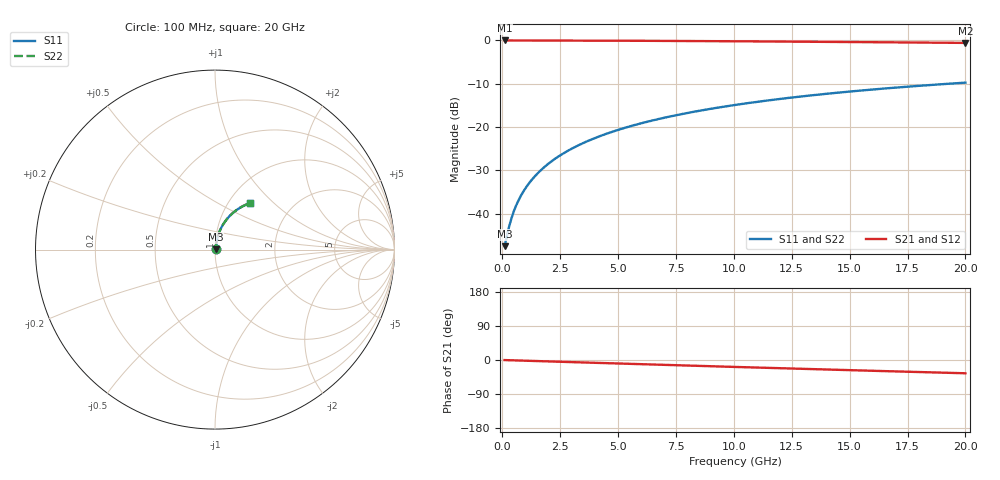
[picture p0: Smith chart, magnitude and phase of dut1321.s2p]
! Touchstone file exported from HFSS 2026.1.0
!  File:  C:/ffzhzh/LocalFiles/Ansys_Project_Files/temp_train_TMRDL_1321_1783165026_51560.aedt
!  Generated:  07:38:21 PM Jul  4, 2026
!  Design:  TMRDL
!  Project:  temp_train_TMRDL_1321_1783165026_51560
! Variables:
!  h_bsmrdl = 2um
!  h_ox = 20um
!  h_rdl = 5um
!  h_sub = 80um
!  h_tmrdl = 3.15um
!  h_tsv = 80um
!  h_via = 3um
!  l_bsmrdl = 300um
!  l_sub = 909.32um
!  l_tmrdl = 509.32um
!  m_sub = 200um
!  pitch = 35.88um
!  r_tsv = 6um
!  s_tmrdl = 10um
!  w_bsmrdl = 18um
!  w_sub = 500um
!  w_tmrdl = 16.1um
!  x_tsv_center1 = 517.37um
!  x_tsv_center2 = 835.37um
!  x_tsv_center3 = 1360.79um
!  x_tsv_center4 = 1678.79um
!  x_tsv_center5 = 2204.21um
!  x_tsv_center6 = 2522.21um
# GHz S MA R 50.000000
! Terminal data exported
! Port[1] = TM_RDL1_1_T1
! Port[2] = TM_RDL1_1_T2
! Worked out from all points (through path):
!   200 points, 100 MHz to 20 GHz, reference 50 ohm
!   highest |S21| = -0.03 dB at 100 MHz (marker M1); lowest = -0.6 dB at 20 GHz (marker M2)
!   group delay of S21, straight-line fit = 4.87 ps
!   lowest |S11| = -47.4 dB at 100 MHz (marker M3), VSWR 1.01, Z = 50.4 + j0.207 ohm
!   |S11| at or under -10 dB: start of sweep to 19.29 GHz
!   |S22| runs from -47.4 to -9.8 dB; largest |S21 - S12| = 4.5e-15
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0.1  0.004247 28.9  0.9963 -0.2  0.9963 -0.2  0.004247 28.9
! Gamma 0 0 0 0
! Port Impedance 50 0 50 0
0.3  0.007234 56.5  0.9961 -0.6  0.9961 -0.6  0.007234 56.5
0.4  0.008974 62.4  0.9959 -0.8  0.9959 -0.8  0.008974 62.4
0.5  0.01074 66.2  0.9958 -1.0  0.9958 -1.0  0.01074 66.2
0.6  0.01253 68.9  0.9957 -1.1  0.9957 -1.1  0.01253 68.9
0.8  0.01611 72.6  0.9955 -1.5  0.9955 -1.5  0.01611 72.6
1  0.01972 74.8  0.9953 -1.9  0.9953 -1.9  0.01972 74.8
1.2  0.02336 76.3  0.9951 -2.3  0.9951 -2.3  0.02336 76.3
1.4  0.02701 77.4  0.995 -2.6  0.995 -2.6  0.02701 77.4
1.7  0.03251 78.4  0.9947 -3.2  0.9947 -3.2  0.03251 78.4
2.2  0.04172 79.1  0.9942 -4.1  0.9942 -4.1  0.04172 79.1
2.8  0.05277 79.2  0.9935 -5.2  0.9935 -5.2  0.05277 79.2
3.5  0.06562 78.8  0.9925 -6.5  0.9925 -6.5  0.06562 78.8
4.2  0.0784 78.0  0.9912 -7.8  0.9912 -7.8  0.0784 78.0
5  0.09286 77.0  0.9896 -9.3  0.9896 -9.3  0.09286 77.0
5.9  0.1089 75.7  0.9875 -10.9  0.9875 -10.9  0.1089 75.7
6.8  0.1248 74.3  0.9852 -12.5  0.9852 -12.5  0.1248 74.3
8.3  0.1507 71.8  0.9808 -15.2  0.9808 -15.2  0.1506 71.8
10.1  0.1807 68.8  0.9748 -18.4  0.9748 -18.4  0.1807 68.8
13.4  0.2329 63.4  0.9624 -24.1  0.9624 -24.1  0.2329 63.4
16.7  0.2812 58.1  0.9484 -29.6  0.9484 -29.6  0.2812 58.1
20  0.3253 52.9  0.9336 -35.0  0.9336 -35.0  0.3253 52.9
